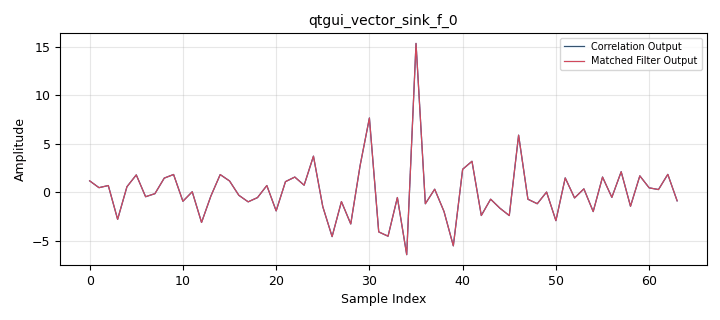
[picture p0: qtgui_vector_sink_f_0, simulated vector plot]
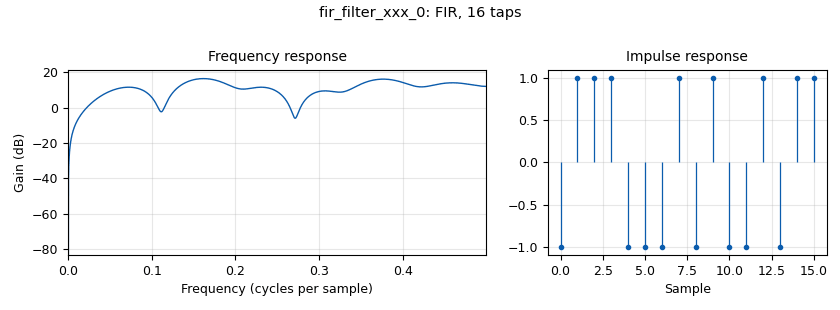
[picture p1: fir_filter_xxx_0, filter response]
options:
  parameters:
    generate_options: qt_gui
    id: exp6
    output_language: python
    title: Correlation vs Matched Filter
  states: {}

blocks:
- name: samp_rate
  id: variable
  parameters:
    value: '1000'
  states: {}
- name: analog_noise_source_x_0
  id: analog_noise_source_x
  parameters:
    amp: '0.5'
    noise_type: analog.GR_GAUSSIAN
    seed: '0'
    type: float
  states: {}
- name: blocks_add_xx_0
  id: blocks_add_xx
  parameters:
    type: float
  states: {}
- name: blocks_stream_to_vector_0
  id: blocks_stream_to_vector
  parameters:
    num_items: '64'
    type: float
  states: {}
- name: blocks_stream_to_vector_0_0
  id: blocks_stream_to_vector
  parameters:
    num_items: '64'
    type: float
  states: {}
- name: blocks_vector_source_x_0
  id: blocks_vector_source_x
  parameters:
    repeat: 'True'
    type: float
    vector: (0,)*20 + (1, 1, -1, 1, -1, -1, 1, -1, 1, -1, -1, -1, 1, 1, 1, -1) + (0,)*28
  states: {}
- name: fir_filter_xxx_0
  id: fir_filter_xxx
  parameters:
    decim: '1'
    taps: (-1, 1, 1, 1, -1, -1, -1, 1, -1, 1, -1, -1, 1, -1, 1, 1)
    type: fff
  states: {}
- name: fir_filter_xxx_0_0
  id: fir_filter_xxx
  parameters:
    decim: '1'
    taps: (-1, 1, 1, 1, -1, -1, -1, 1, -1, 1, -1, -1, 1, -1, 1, 1)
    type: fff
  states: {}
- name: qtgui_vector_sink_f_0
  id: qtgui_vector_sink_f
  parameters:
    autoscale: 'True'
    average: '0.05'
    grid: 'True'
    label1: Correlation Output
    label2: ' Matched Filter Output'
    nconnections: '2'
    update_time: '1'
    vlen: '64'
    x_axis_label: Sample Index
    x_start: '0'
    x_step: '1.0'
    y_axis_label: Amplitude
  states: {}

connections:
- [analog_noise_source_x_0, '0', blocks_add_xx_0, '1']
- [blocks_add_xx_0, '0', fir_filter_xxx_0, '0']
- [blocks_add_xx_0, '0', fir_filter_xxx_0_0, '0']
- [blocks_stream_to_vector_0, '0', qtgui_vector_sink_f_0, '0']
- [blocks_stream_to_vector_0_0, '0', qtgui_vector_sink_f_0, '1']
- [blocks_vector_source_x_0, '0', blocks_add_xx_0, '0']
- [fir_filter_xxx_0, '0', blocks_stream_to_vector_0_0, '0']
- [fir_filter_xxx_0_0, '0', blocks_stream_to_vector_0, '0']

metadata:
  file_format: 1
  grc_version: 3.10.12.0
